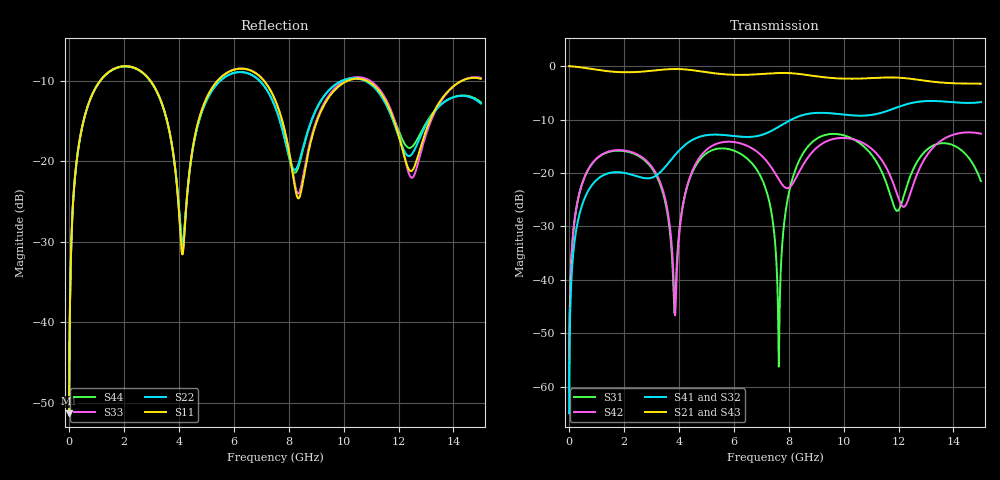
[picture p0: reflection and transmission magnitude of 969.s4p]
! Created with skrf 1.8.0 (http://scikit-rf.org).
# GHz S RI R 50.0
!freq ReS11 ImS11 ReS12 ImS12 ReS13 ImS13
! ReS14 ImS14
! ReS21 ImS21 ReS22 ImS22 ReS23 ImS23
! ReS24 ImS24
! ReS31 ImS31 ReS32 ImS32 ReS33 ImS33
! ReS34 ImS34
! ReS41 ImS41 ReS42 ImS42 ReS43 ImS43
! ReS44 ImS44
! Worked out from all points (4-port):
!   2499 points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, 5 MHz to 15 GHz, reference 50 ohm
!   strongest paths, dB at 5 MHz, 3.476 GHz, 7.19 GHz, 11.1 GHz, 15 GHz:
!     S21: 0.0, -0.6, -1.4, -2.2, -3.3
!     S43: 0.0, -0.6, -1.4, -2.3, -3.3
!     S41: -65.0, -19.0, -12.6, -9.1, -6.7
!     S32: -65.0, -19.0, -12.6, -9.1, -6.8
!     S42: -60.9, -24.3, -17.7, -15.8, -12.7
!     S31: -60.9, -24.8, -23.4, -17.1, -21.5
!   lowest |S11| = -51.3 dB at 5 MHz (marker M1), VSWR 1.01, Z = 50.2 + j0.164 ohm
!   |S11| at or under -10 dB: 2.968 GHz to 5.409 GHz (2.441 GHz wide, 58.3 % of centre); 7.104 GHz to 10.14 GHz (3.039 GHz wide, 35.2 % of centre); 10.86 GHz to 14.3 GHz (3.444 GHz wide, 27.4 % of centre) (the widest 3 of 4)
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0.005  0.00216 0.00164  0.9978 -0.00421  0.000112 0.000891  -0.000108 -0.000554
       0.9978 -0.00421  0.00216 0.00164  -0.000108 -0.000554  0.000112 0.000891
       0.000112 0.000891  -0.000108 -0.000554  0.00216 0.00164  0.9978 -0.00421
       -0.000108 -0.000554  0.000112 0.000891  0.9978 -0.00421  0.00216 0.00164
1.3193  0.3055 0.1572  0.4664 -0.7709  0.143 0.0546  -0.0967 0.00824
        0.4664 -0.7709  0.3041 0.1584  -0.0966 0.00817  0.1465 0.0488
        0.143 0.0546  -0.0966 0.00817  0.3055 0.1572  0.4663 -0.7709
        -0.0967 0.00824  0.1465 0.0488  0.4663 -0.7709  0.3041 0.1584
3.86411  0.0416 -0.0809  -0.8984 -0.2717  -0.00516 0.0023  -0.0381 0.1425
         -0.8984 -0.2717  0.0461 -0.0794  -0.0388 0.1423  -0.00465 0.00024
         -0.00516 0.0023  -0.0388 0.1423  0.0416 -0.0807  -0.8985 -0.2716
         -0.0381 0.1425  -0.00465 0.00024  -0.8985 -0.2716  0.0461 -0.0792
7.646936  0.1383 -0.1551  0.6721 0.5396  -0.00176 0.000369  0.1631 -0.2171
          0.6721 0.5396  0.1469 -0.1151  0.165 -0.2155  -0.0612 -0.0613
          -0.00176 0.000369  0.165 -0.2155  0.1404 -0.1539  0.6722 0.5395
          0.1631 -0.2171  -0.0612 -0.0613  0.6722 0.5395  0.1453 -0.1164
8.253439  0.0578 -0.0311  0.8346 0.1645  0.0228 0.1065  0.0561 -0.3247
          0.8346 0.1645  0.0888 0.00329  0.0587 -0.3238  -0.0446 0.0765
          0.0228 0.1065  0.0587 -0.3238  0.0617 -0.0295  0.8347 0.1641
          0.0561 -0.3247  -0.0446 0.0765  0.8347 0.1641  0.0851 0.00317
10.99208  0.294 -0.0878  -0.1345 -0.7595  0.0896 -0.1217  -0.3291 0.1147
          -0.1345 -0.7595  0.2853 -0.0937  -0.3293 0.1072  0.0834 -0.1491
          0.0896 -0.1217  -0.3293 0.1072  0.2986 -0.0997  -0.1338 -0.7575
          -0.3291 0.1147  0.0834 -0.1491  -0.1338 -0.7575  0.2922 -0.0839
15  0.3248 -0.0249  0.00139 0.6836  0.0482 -0.0688  0.4585 -0.035
    0.00139 0.6836  0.2281 -0.0129  0.4584 -0.0262  0.0386 -0.2298
    0.0482 -0.0688  0.4584 -0.0262  0.3294 -0.0243  0.00115 0.6821
    0.4585 -0.035  0.0386 -0.2298  0.00115 0.6821  0.2327 -0.0137
